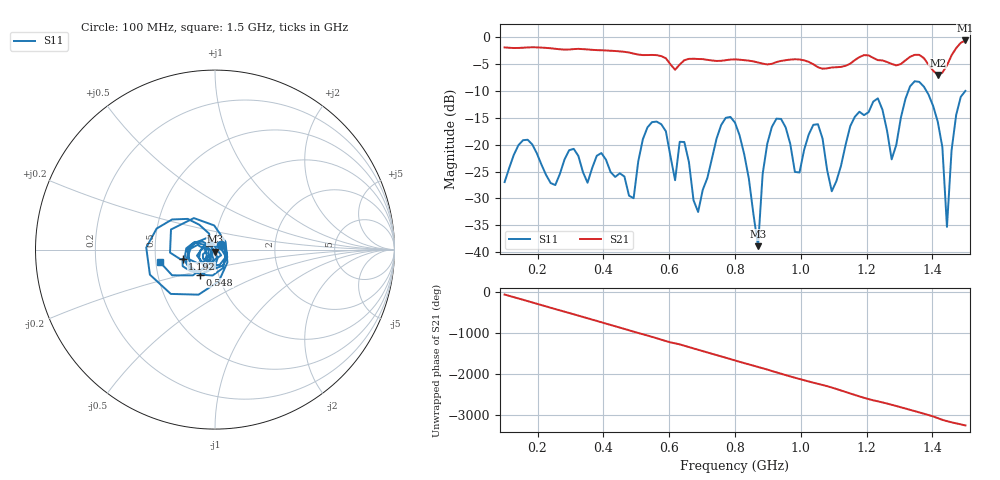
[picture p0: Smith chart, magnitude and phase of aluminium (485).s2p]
! NanoVNA-App
! Date: 2025-09-25 14:59:03
! Start: 100MHz Stop: 1,5GHz Points: 101
! S-Parameter data: F S11 S21 S12 S22
# Hz S RI R 50
!  Frequency  S11_Real  S11_Imag  S21_Real  S21_Imag  S12_Real  S12_Imag  S22_Real  S22_Imag
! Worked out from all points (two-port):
!   101 points, 100 MHz to 1.5 GHz, reference 50 ohm
!   highest |S21| = -0.63 dB at 1.5 GHz (marker M1); lowest = -7.0 dB at 1.416 GHz (marker M2)
!   |S21| within 3 dB of the highest: start of sweep to 579.2 MHz; 1.456 GHz to end of sweep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
!   lowest |S11| = -38.9 dB at 870 MHz (marker M3), VSWR 1.02, Z = 50.2 - j1.12 ohm
!   |S11| at or under -10 dB: start of sweep to 1.327 GHz; 1.381 GHz to end of sweep
!   S12 and S22 are empty: the file has one direction only
!   S11 on the Smith chart (normalised r, x): 100 MHz: 1.07, +0.06; 548 MHz: 0.82, -0.23; 1.192 GHz: 0.69, -0.07; 1.5 GHz: 0.52, -0.08
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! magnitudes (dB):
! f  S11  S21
! 100 MHz  -27.0  -1.9
! 156 MHz  -19.2  -2.0
! 338 MHz  -25.1  -2.2
! 492 MHz  -30.0  -3.1
! 548 MHz  -15.8  -3.3
! 576 MHz  -16.2  -3.5
! 646 MHz  -19.5  -4.3
! 688 MHz  -32.5  -4.1
! 800 MHz  -15.9  -4.1
! 870 MHz  -38.9  -4.7
! 912 MHz  -16.7  -5.0
! 996 MHz  -25.2  -4.2
! 1.038 GHz  -16.3  -5.1
! 1.094 GHz  -28.7  -5.6
! 1.192 GHz  -14.5  -3.3
! 1.234 GHz  -11.4  -4.3
! 1.276 GHz  -22.7  -5.0
! 1.346 GHz  -8.2  -3.3
! 1.416 GHz  -15.7  -7.0
! 1.444 GHz  -35.3  -5.3
! 1.472 GHz  -14.5  -2.0
! 1.5 GHz  -10.0  -0.6
